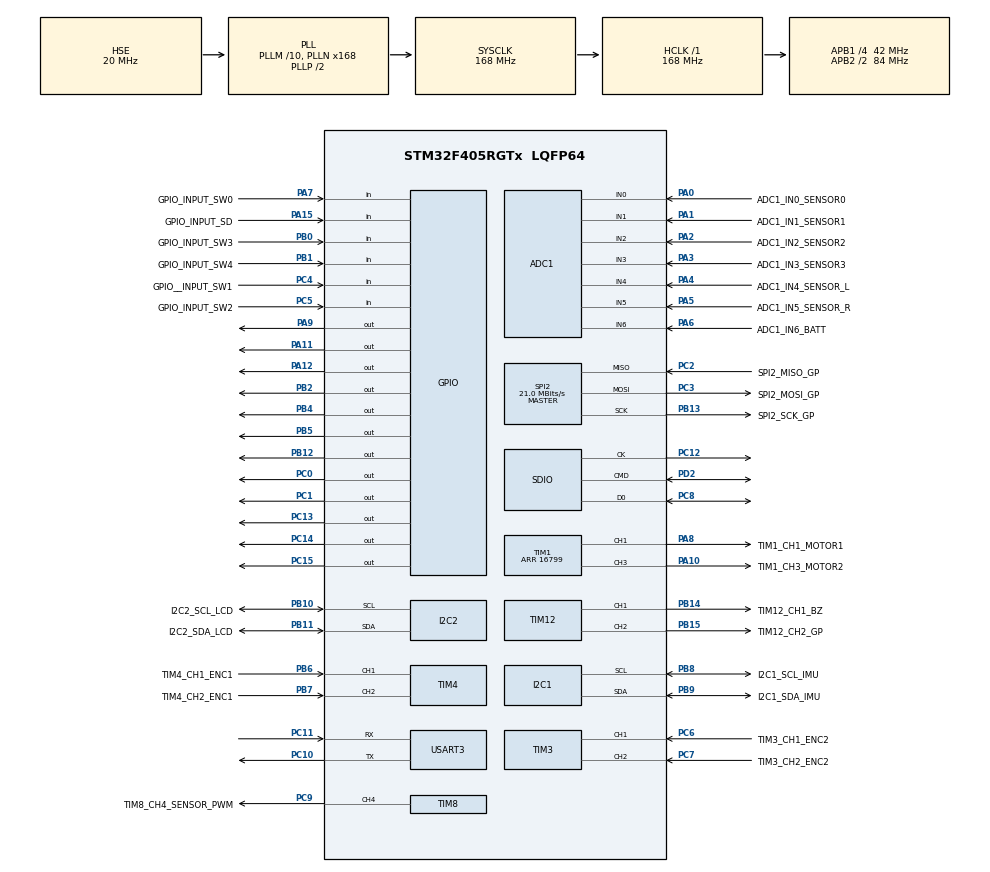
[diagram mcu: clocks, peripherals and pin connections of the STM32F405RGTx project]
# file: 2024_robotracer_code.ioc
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ADC1.Channel-0\#ChannelRegularConversion=ADC_CHANNEL_0
ADC1.NbrOfConversionFlag=1
ADC1.Rank-0\#ChannelRegularConversion=1
ADC1.SamplingTime-0\#ChannelRegularConversion=ADC_SAMPLETIME_3CYCLES
ADC1.master=1
FATFS.BSP.number=1
FATFS0.BSP.STBoard=false
FATFS0.BSP.api=Unknown
FATFS0.BSP.instance=PA15
FATFS0.BSP.ip=GPIO
FATFS0.BSP.mode=Input
FATFS0.BSP.name=Detect_SDIO
FATFS0.BSP.solution=PA15
Mcu.Family=STM32F4
Mcu.Name=STM32F405RGTx
Mcu.Package=LQFP64
NVIC.PriorityGroup=NVIC_PRIORITYGROUP_4
NVIC.TIM6_DAC_IRQn=true\:0\:0\:false\:false\:true\:true\:true\:true
NVIC.TIM7_IRQn=true\:0\:0\:false\:false\:true\:true\:true\:true
PA0-WKUP.GPIO_Label=ADC1_IN0_SENSOR0
PA0-WKUP.Signal=ADCx_IN0
PA1.GPIO_Label=ADC1_IN1_SENSOR1
PA1.Signal=ADCx_IN1
PA10.GPIO_Label=TIM1_CH3_MOTOR2
PA10.Signal=S_TIM1_CH3
PA11.Signal=GPIO_Output
PA12.Signal=GPIO_Output
PA13.Mode=Trace_Asynchronous_SW
PA13.Signal=SYS_JTMS-SWDIO
PA14.Mode=Trace_Asynchronous_SW
PA14.Signal=SYS_JTCK-SWCLK
PA15.GPIO_Label=GPIO_INPUT_SD
PA15.Signal=GPIO_Input
PA2.GPIO_Label=ADC1_IN2_SENSOR2
PA2.Signal=ADCx_IN2
PA3.GPIO_Label=ADC1_IN3_SENSOR3
PA3.Signal=ADCx_IN3
PA4.GPIO_Label=ADC1_IN4_SENSOR_L
PA4.Signal=ADCx_IN4
PA5.GPIO_Label=ADC1_IN5_SENSOR_R
PA5.Signal=ADCx_IN5
PA6.GPIO_Label=ADC1_IN6_BATT
PA6.Signal=ADCx_IN6
PA7.GPIO_Label=GPIO_INPUT_SW0
PA7.Signal=GPIO_Input
PA8.GPIO_Label=TIM1_CH1_MOTOR1
PA8.Signal=S_TIM1_CH1
PA9.GPIO_PuPd=GPIO_NOPULL
PA9.Signal=GPIO_Output
PB0.GPIO_Label=GPIO_INPUT_SW3
PB0.Signal=GPIO_Input
PB1.GPIO_Label=GPIO_INPUT_SW4
PB1.Signal=GPIO_Input
PB10.GPIO_Label=I2C2_SCL_LCD
PB10.Mode=I2C
PB10.Signal=I2C2_SCL
PB11.GPIO_Label=I2C2_SDA_LCD
PB11.Mode=I2C
PB11.Signal=I2C2_SDA
PB12.Signal=GPIO_Output
PB13.GPIO_Label=SPI2_SCK_GP
PB13.Mode=Full_Duplex_Master
PB13.Signal=SPI2_SCK
PB14.GPIO_Label=TIM12_CH1_BZ
PB14.Signal=S_TIM12_CH1
PB15.GPIO_Label=TIM12_CH2_GP
PB15.Signal=S_TIM12_CH2
PB2.Signal=GPIO_Output
PB3.Mode=Trace_Asynchronous_SW
PB3.Signal=SYS_JTDO-SWO
PB4.Signal=GPIO_Output
PB5.Signal=GPIO_Output
PB6.GPIO_Label=TIM4_CH1_ENC1
PB6.Signal=S_TIM4_CH1
PB7.GPIO_Label=TIM4_CH2_ENC1
PB7.Signal=S_TIM4_CH2
PB8.GPIO_Label=I2C1_SCL_IMU
PB8.Mode=I2C
PB8.Signal=I2C1_SCL
PB9.GPIO_Label=I2C1_SDA_IMU
PB9.Mode=I2C
PB9.Signal=I2C1_SDA
PC0.Signal=GPIO_Output
PC1.Signal=GPIO_Output
PC10.Mode=Asynchronous
PC10.Signal=USART3_TX
PC11.Mode=Asynchronous
PC11.Signal=USART3_RX
PC12.Mode=SD_1_bit
PC12.Signal=SDIO_CK
PC13-ANTI_TAMP.Signal=GPIO_Output
PC14-OSC32_IN.Signal=GPIO_Output
PC15-OSC32_OUT.Signal=GPIO_Output
PC2.GPIO_Label=SPI2_MISO_GP
PC2.Mode=Full_Duplex_Master
PC2.Signal=SPI2_MISO
PC3.GPIO_Label=SPI2_MOSI_GP
PC3.Mode=Full_Duplex_Master
PC3.Signal=SPI2_MOSI
PC4.GPIO_Label=GPIO__INPUT_SW1
PC4.Signal=GPIO_Input
PC5.GPIO_Label=GPIO_INPUT_SW2
PC5.Signal=GPIO_Input
PC6.GPIO_Label=TIM3_CH1_ENC2
PC6.Signal=S_TIM3_CH1
PC7.GPIO_Label=TIM3_CH2_ENC2
PC7.Signal=S_TIM3_CH2
PC8.Mode=SD_1_bit
PC8.Signal=SDIO_D0
PC9.GPIO_Label=TIM8_CH4_SENSOR_PWM
PC9.Signal=S_TIM8_CH4
PD2.Mode=SD_1_bit
PD2.Signal=SDIO_CMD
PH0-OSC_IN.Mode=HSE-External-Oscillator
PH0-OSC_IN.Signal=RCC_OSC_IN
PH1-OSC_OUT.Mode=HSE-External-Oscillator
PH1-OSC_OUT.Signal=RCC_OSC_OUT
ProjectManager.HeapSize=0x200
ProjectManager.StackSize=0x400
ProjectManager.TargetToolchain=STM32CubeIDE
RCC.48MHZClocksFreq_Value=48000000
RCC.AHBFreq_Value=168000000
RCC.APB1CLKDivider=RCC_HCLK_DIV4
RCC.APB1Freq_Value=42000000
RCC.APB1TimFreq_Value=84000000
RCC.APB2CLKDivider=RCC_HCLK_DIV2
RCC.APB2Freq_Value=84000000
RCC.APB2TimFreq_Value=168000000
RCC.CortexFreq_Value=168000000
RCC.HCLKFreq_Value=168000000
RCC.HSE_VALUE=20000000
RCC.HSI_VALUE=16000000
RCC.LSE_VALUE=32768
RCC.PLLM=10
RCC.PLLN=168
RCC.PLLQ=7
RCC.PLLSourceVirtual=RCC_PLLSOURCE_HSE
RCC.SYSCLKFreq_VALUE=168000000
RCC.SYSCLKSource=RCC_SYSCLKSOURCE_PLLCLK
RCC.VCOOutputFreq_Value=336000000
SH.ADCx_IN0.0=ADC1_IN0,IN0
SH.ADCx_IN1.0=ADC1_IN1,IN1
SH.ADCx_IN2.0=ADC1_IN2,IN2
SH.ADCx_IN3.0=ADC1_IN3,IN3
SH.ADCx_IN4.0=ADC1_IN4,IN4
SH.ADCx_IN5.0=ADC1_IN5,IN5
SH.ADCx_IN6.0=ADC1_IN6,IN6
SH.S_TIM12_CH1.0=TIM12_CH1,PWM Generation1 CH1
SH.S_TIM12_CH2.0=TIM12_CH2,PWM Generation2 CH2
SH.S_TIM1_CH1.0=TIM1_CH1,PWM Generation1 CH1
SH.S_TIM1_CH3.0=TIM1_CH3,PWM Generation3 CH3
SH.S_TIM3_CH1.0=TIM3_CH1,Encoder_Interface
SH.S_TIM3_CH2.0=TIM3_CH2,Encoder_Interface
SH.S_TIM4_CH1.0=TIM4_CH1,Encoder_Interface
SH.S_TIM4_CH2.0=TIM4_CH2,Encoder_Interface
SH.S_TIM8_CH4.0=TIM8_CH4,PWM Generation4 CH4
SPI2.BaudRatePrescaler=SPI_BAUDRATEPRESCALER_2
SPI2.CalculateBaudRate=21.0 MBits/s
SPI2.Direction=SPI_DIRECTION_2LINES
SPI2.Mode=SPI_MODE_MASTER
SPI2.VirtualType=VM_MASTER
TIM1.Channel-PWM\ Generation1\ CH1=TIM_CHANNEL_1
TIM1.Channel-PWM\ Generation3\ CH3=TIM_CHANNEL_3
TIM1.Period=16799
TIM12.Channel-PWM\ Generation1\ CH1=TIM_CHANNEL_1
TIM12.Channel-PWM\ Generation2\ CH2=TIM_CHANNEL_2
TIM6.Period=999
TIM6.Prescaler=83
TIM7.Period=99
TIM7.Prescaler=83
TIM8.Channel-PWM\ Generation4\ CH4=TIM_CHANNEL_4
USART3.VirtualMode=VM_ASYNC
VP_FATFS_VS_SDIO.Mode=SDIO
VP_TIM10_VS_ClockSourceINT.Mode=Enable_Timer
VP_TIM11_VS_ClockSourceINT.Mode=Enable_Timer
VP_TIM13_VS_ClockSourceINT.Mode=Enable_Timer
VP_TIM14_VS_ClockSourceINT.Mode=Enable_Timer
VP_TIM6_VS_ClockSourceINT.Mode=Enable_Timer
VP_TIM7_VS_ClockSourceINT.Mode=Enable_Timer
board=custom

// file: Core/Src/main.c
/* USER CODE BEGIN Header */
/**
  ******************************************************************************
  * @file           : main.c
  * @brief          : Main program body
  ******************************************************************************
  * @attention
  *
  * Copyright (c) 2024 STMicroelectronics.
  * All rights reserved.
  *
  * This software is licensed under terms that can be found in the LICENSE file
  * in the root directory of this software component.
  * If no LICENSE file comes with this software, it is provided AS-IS.
  *
  ******************************************************************************
  */
/* USER CODE END Header */
#include "main.h"
#include "fatfs.h"

ADC_HandleTypeDef hadc1;

I2C_HandleTypeDef hi2c1;
I2C_HandleTypeDef hi2c2;

SD_HandleTypeDef hsd;

SPI_HandleTypeDef hspi2;

TIM_HandleTypeDef htim1;
TIM_HandleTypeDef htim3;
TIM_HandleTypeDef htim4;
TIM_HandleTypeDef htim6;
TIM_HandleTypeDef htim7;
TIM_HandleTypeDef htim8;
TIM_HandleTypeDef htim10;
TIM_HandleTypeDef htim11;
TIM_HandleTypeDef htim12;
TIM_HandleTypeDef htim13;
TIM_HandleTypeDef htim14;

UART_HandleTypeDef huart3;

/* USER CODE BEGIN PV */
uint16_t tim6_cnt;
uint16_t tim7_cnt;

int16_t mon_i;

/* USER CODE END PV */

void SystemClock_Config(void);
static void MX_GPIO_Init(void);
static void MX_ADC1_Init(void);
static void MX_I2C1_Init(void);
static void MX_I2C2_Init(void);
static void MX_SDIO_SD_Init(void);
static void MX_TIM1_Init(void);
static void MX_TIM3_Init(void);
static void MX_TIM4_Init(void);
static void MX_TIM6_Init(void);
static void MX_TIM7_Init(void);
static void MX_TIM10_Init(void);
static void MX_TIM11_Init(void);
static void MX_TIM12_Init(void);
static void MX_TIM13_Init(void);
static void MX_TIM14_Init(void);
static void MX_SPI2_Init(void);
static void MX_USART3_UART_Init(void);
static void MX_TIM8_Init(void);

/* USER CODE BEGIN 0 */

void HAL_TIM_PeriodElapsedCallback(TIM_HandleTypeDef *htim)
{
	if(htim->Instance == TIM6){
       tim6_cnt++;
       if(tim6_cnt >= 10000) tim6_cnt = 0;
   }
   if(htim->Instance == TIM7){
	   tim7_cnt++;
	   if(tim7_cnt >= 10000) tim7_cnt = 0;
   }
}

/* USER CODE END 0 */

int main(void)
{

  /* MCU Configuration--------------------------------------------------------*/

  /* Reset of all peripherals, Initializes the Flash interface and the Systick. */
  HAL_Init();

  /* Configure the system clock */
  SystemClock_Config();

  /* Initialize all configured peripherals */
  MX_GPIO_Init();
  MX_ADC1_Init();
  MX_I2C1_Init();
  MX_I2C2_Init();
  MX_SDIO_SD_Init();
  MX_TIM1_Init();
  MX_TIM3_Init();
  MX_TIM4_Init();
  MX_TIM6_Init();
  MX_TIM7_Init();
  MX_FATFS_Init();
  MX_TIM10_Init();
  MX_TIM11_Init();
  MX_TIM12_Init();
  MX_TIM13_Init();
  MX_TIM14_Init();
  MX_SPI2_Init();
  MX_USART3_UART_Init();
  MX_TIM8_Init();
  /* USER CODE BEGIN 2 */
  HAL_TIM_Base_Start_IT(&htim6);
  HAL_TIM_Base_Start_IT(&htim7);
  HAL_TIM_PWM_Start(&htim1, TIM_CHANNEL_1);
  HAL_TIM_PWM_Start(&htim1, TIM_CHANNEL_3);
  //HAL_TIM_PWM_Start(&htim1, TIM_CHANNEL_2);
  /* USER CODE END 2 */

  /* Infinite loop */
  /* USER CODE BEGIN WHILE */
  while (1)
  {
	  //__HAL_TIM_SET_COMPARE(&htim1, TIM_CHANNEL_2, 0); //A
	  /*
	  HAL_GPIO_WritePin(GPIOA, GPIO_PIN_9, GPIO_PIN_RESET);
	  for(mon_i = 500; mon_i < 1000; mon_i++){
		  __HAL_TIM_SET_COMPARE(&htim1, TIM_CHANNEL_1, mon_i); //B
		  HAL_Delay(1);
	  }
	  */

	  HAL_GPIO_WritePin(GPIOA, GPIO_PIN_9, GPIO_PIN_SET);
	  HAL_GPIO_WritePin(GPIOA, GPIO_PIN_11, GPIO_PIN_SET);
	  for(mon_i = 4000; mon_i < 8000; mon_i++){
		  __HAL_TIM_SET_COMPARE(&htim1, TIM_CHANNEL_1, mon_i); //B
		  __HAL_TIM_SET_COMPARE(&htim1, TIM_CHANNEL_3, mon_i); //B
		  HAL_Delay(1);
	  }

	  //__HAL_TIM_SET_COMPARE(&htim1, TIM_CHANNEL_2, 3359); //A
	  /*
	  HAL_GPIO_WritePin(GPIOA, GPIO_PIN_9, GPIO_PIN_RESET);
	  __HAL_TIM_SET_COMPARE(&htim1, TIM_CHANNEL_1, 1000); //B
	  HAL_Delay(1000);
	  */
    /* USER CODE END WHILE */

  }
}

void SystemClock_Config(void)
{
  RCC_OscInitTypeDef RCC_OscInitStruct = {0};
  RCC_ClkInitTypeDef RCC_ClkInitStruct = {0};

  /** Configure the main internal regulator output voltage
  */
  __HAL_RCC_PWR_CLK_ENABLE();
  __HAL_PWR_VOLTAGESCALING_CONFIG(PWR_REGULATOR_VOLTAGE_SCALE1);

  /** Initializes the RCC Oscillators according to the specified parameters
  * in the RCC_OscInitTypeDef structure.
  */
  RCC_OscInitStruct.OscillatorType = RCC_OSCILLATORTYPE_HSE;
  RCC_OscInitStruct.HSEState = RCC_HSE_ON;
  RCC_OscInitStruct.PLL.PLLState = RCC_PLL_ON;
  RCC_OscInitStruct.PLL.PLLSource = RCC_PLLSOURCE_HSE;
  RCC_OscInitStruct.PLL.PLLM = 10;
  RCC_OscInitStruct.PLL.PLLN = 168;
  RCC_OscInitStruct.PLL.PLLP = RCC_PLLP_DIV2;
  RCC_OscInitStruct.PLL.PLLQ = 7;
  if (HAL_RCC_OscConfig(&RCC_OscInitStruct) != HAL_OK)
  {
    Error_Handler();
  }

  /** Initializes the CPU, AHB and APB buses clocks
  */
  RCC_ClkInitStruct.ClockType = RCC_CLOCKTYPE_HCLK|RCC_CLOCKTYPE_SYSCLK
                              |RCC_CLOCKTYPE_PCLK1|RCC_CLOCKTYPE_PCLK2;
  RCC_ClkInitStruct.SYSCLKSource = RCC_SYSCLKSOURCE_PLLCLK;
  RCC_ClkInitStruct.AHBCLKDivider = RCC_SYSCLK_DIV1;
  RCC_ClkInitStruct.APB1CLKDivider = RCC_HCLK_DIV4;
  RCC_ClkInitStruct.APB2CLKDivider = RCC_HCLK_DIV2;

  if (HAL_RCC_ClockConfig(&RCC_ClkInitStruct, FLASH_LATENCY_5) != HAL_OK)
  {
    Error_Handler();
  }
}

static void MX_ADC1_Init(void)
{

  ADC_ChannelConfTypeDef sConfig = {0};

  /** Configure the global features of the ADC (Clock, Resolution, Data Alignment and number of conversion)
  */
  hadc1.Instance = ADC1;
  hadc1.Init.ClockPrescaler = ADC_CLOCK_SYNC_PCLK_DIV4;
  hadc1.Init.Resolution = ADC_RESOLUTION_12B;
  hadc1.Init.ScanConvMode = DISABLE;
  hadc1.Init.ContinuousConvMode = DISABLE;
  hadc1.Init.DiscontinuousConvMode = DISABLE;
  hadc1.Init.ExternalTrigConvEdge = ADC_EXTERNALTRIGCONVEDGE_NONE;
  hadc1.Init.ExternalTrigConv = ADC_SOFTWARE_START;
  hadc1.Init.DataAlign = ADC_DATAALIGN_RIGHT;
  hadc1.Init.NbrOfConversion = 1;
  hadc1.Init.DMAContinuousRequests = DISABLE;
  hadc1.Init.EOCSelection = ADC_EOC_SINGLE_CONV;
  if (HAL_ADC_Init(&hadc1) != HAL_OK)
  {
    Error_Handler();
  }

  /** Configure for the selected ADC regular channel its corresponding rank in the sequencer and its sample time.
  */
  sConfig.Channel = ADC_CHANNEL_0;
  sConfig.Rank = 1;
  sConfig.SamplingTime = ADC_SAMPLETIME_3CYCLES;
  if (HAL_ADC_ConfigChannel(&hadc1, &sConfig) != HAL_OK)
  {
    Error_Handler();
  }

}

static void MX_I2C1_Init(void)
{

  hi2c1.Instance = I2C1;
  hi2c1.Init.ClockSpeed = 100000;
  hi2c1.Init.DutyCycle = I2C_DUTYCYCLE_2;
  hi2c1.Init.OwnAddress1 = 0;
  hi2c1.Init.AddressingMode = I2C_ADDRESSINGMODE_7BIT;
  hi2c1.Init.DualAddressMode = I2C_DUALADDRESS_DISABLE;
  hi2c1.Init.OwnAddress2 = 0;
  hi2c1.Init.GeneralCallMode = I2C_GENERALCALL_DISABLE;
  hi2c1.Init.NoStretchMode = I2C_NOSTRETCH_DISABLE;
  if (HAL_I2C_Init(&hi2c1) != HAL_OK)
  {
    Error_Handler();
  }

}

static void MX_I2C2_Init(void)
{

  hi2c2.Instance = I2C2;
  hi2c2.Init.ClockSpeed = 100000;
  hi2c2.Init.DutyCycle = I2C_DUTYCYCLE_2;
  hi2c2.Init.OwnAddress1 = 0;
  hi2c2.Init.AddressingMode = I2C_ADDRESSINGMODE_7BIT;
  hi2c2.Init.DualAddressMode = I2C_DUALADDRESS_DISABLE;
  hi2c2.Init.OwnAddress2 = 0;
  hi2c2.Init.GeneralCallMode = I2C_GENERALCALL_DISABLE;
  hi2c2.Init.NoStretchMode = I2C_NOSTRETCH_DISABLE;
  if (HAL_I2C_Init(&hi2c2) != HAL_OK)
  {
    Error_Handler();
  }

}

static void MX_SDIO_SD_Init(void)
{

  hsd.Instance = SDIO;
  hsd.Init.ClockEdge = SDIO_CLOCK_EDGE_RISING;
  hsd.Init.ClockBypass = SDIO_CLOCK_BYPASS_DISABLE;
  hsd.Init.ClockPowerSave = SDIO_CLOCK_POWER_SAVE_DISABLE;
  hsd.Init.BusWide = SDIO_BUS_WIDE_1B;
  hsd.Init.HardwareFlowControl = SDIO_HARDWARE_FLOW_CONTROL_DISABLE;
  hsd.Init.ClockDiv = 0;

}

static void MX_SPI2_Init(void)
{

  /* SPI2 parameter configuration*/
  hspi2.Instance = SPI2;
  hspi2.Init.Mode = SPI_MODE_MASTER;
  hspi2.Init.Direction = SPI_DIRECTION_2LINES;
  hspi2.Init.DataSize = SPI_DATASIZE_8BIT;
  hspi2.Init.CLKPolarity = SPI_POLARITY_LOW;
  hspi2.Init.CLKPhase = SPI_PHASE_1EDGE;
  hspi2.Init.NSS = SPI_NSS_SOFT;
  hspi2.Init.BaudRatePrescaler = SPI_BAUDRATEPRESCALER_2;
  hspi2.Init.FirstBit = SPI_FIRSTBIT_MSB;
  hspi2.Init.TIMode = SPI_TIMODE_DISABLE;
  hspi2.Init.CRCCalculation = SPI_CRCCALCULATION_DISABLE;
  hspi2.Init.CRCPolynomial = 10;
  if (HAL_SPI_Init(&hspi2) != HAL_OK)
  {
    Error_Handler();
  }

}

static void MX_TIM1_Init(void)
{

  TIM_MasterConfigTypeDef sMasterConfig = {0};
  TIM_OC_InitTypeDef sConfigOC = {0};
  TIM_BreakDeadTimeConfigTypeDef sBreakDeadTimeConfig = {0};

  htim1.Instance = TIM1;
  htim1.Init.Prescaler = 0;
  htim1.Init.CounterMode = TIM_COUNTERMODE_UP;
  htim1.Init.Period = 16799;
  htim1.Init.ClockDivision = TIM_CLOCKDIVISION_DIV1;
  htim1.Init.RepetitionCounter = 0;
  htim1.Init.AutoReloadPreload = TIM_AUTORELOAD_PRELOAD_DISABLE;
  if (HAL_TIM_PWM_Init(&htim1) != HAL_OK)
  {
    Error_Handler();
  }
  sMasterConfig.MasterOutputTrigger = TIM_TRGO_RESET;
  sMasterConfig.MasterSlaveMode = TIM_MASTERSLAVEMODE_DISABLE;
  if (HAL_TIMEx_MasterConfigSynchronization(&htim1, &sMasterConfig) != HAL_OK)
  {
    Error_Handler();
  }
  sConfigOC.OCMode = TIM_OCMODE_PWM1;
  sConfigOC.Pulse = 0;
  sConfigOC.OCPolarity = TIM_OCPOLARITY_HIGH;
  sConfigOC.OCNPolarity = TIM_OCNPOLARITY_HIGH;
  sConfigOC.OCFastMode = TIM_OCFAST_DISABLE;
  sConfigOC.OCIdleState = TIM_OCIDLESTATE_RESET;
  sConfigOC.OCNIdleState = TIM_OCNIDLESTATE_RESET;
  if (HAL_TIM_PWM_ConfigChannel(&htim1, &sConfigOC, TIM_CHANNEL_1) != HAL_OK)
  {
    Error_Handler();
  }
  if (HAL_TIM_PWM_ConfigChannel(&htim1, &sConfigOC, TIM_CHANNEL_3) != HAL_OK)
  {
    Error_Handler();
  }
  sBreakDeadTimeConfig.OffStateRunMode = TIM_OSSR_DISABLE;
  sBreakDeadTimeConfig.OffStateIDLEMode = TIM_OSSI_DISABLE;
  sBreakDeadTimeConfig.LockLevel = TIM_LOCKLEVEL_OFF;
  sBreakDeadTimeConfig.DeadTime = 0;
  sBreakDeadTimeConfig.BreakState = TIM_BREAK_DISABLE;
  sBreakDeadTimeConfig.BreakPolarity = TIM_BREAKPOLARITY_HIGH;
  sBreakDeadTimeConfig.AutomaticOutput = TIM_AUTOMATICOUTPUT_DISABLE;
  if (HAL_TIMEx_ConfigBreakDeadTime(&htim1, &sBreakDeadTimeConfig) != HAL_OK)
  {
    Error_Handler();
  }
  HAL_TIM_MspPostInit(&htim1);

}

static void MX_TIM3_Init(void)
{

  TIM_Encoder_InitTypeDef sConfig = {0};
  TIM_MasterConfigTypeDef sMasterConfig = {0};

  htim3.Instance = TIM3;
  htim3.Init.Prescaler = 0;
  htim3.Init.CounterMode = TIM_COUNTERMODE_UP;
  htim3.Init.Period = 65535;
  htim3.Init.ClockDivision = TIM_CLOCKDIVISION_DIV1;
  htim3.Init.AutoReloadPreload = TIM_AUTORELOAD_PRELOAD_DISABLE;
  sConfig.EncoderMode = TIM_ENCODERMODE_TI1;
  sConfig.IC1Polarity = TIM_ICPOLARITY_RISING;
  sConfig.IC1Selection = TIM_ICSELECTION_DIRECTTI;
  sConfig.IC1Prescaler = TIM_ICPSC_DIV1;
  sConfig.IC1Filter = 0;
  sConfig.IC2Polarity = TIM_ICPOLARITY_RISING;
  sConfig.IC2Selection = TIM_ICSELECTION_DIRECTTI;
  sConfig.IC2Prescaler = TIM_ICPSC_DIV1;
  sConfig.IC2Filter = 0;
  if (HAL_TIM_Encoder_Init(&htim3, &sConfig) != HAL_OK)
  {
    Error_Handler();
  }
  sMasterConfig.MasterOutputTrigger = TIM_TRGO_RESET;
  sMasterConfig.MasterSlaveMode = TIM_MASTERSLAVEMODE_DISABLE;
  if (HAL_TIMEx_MasterConfigSynchronization(&htim3, &sMasterConfig) != HAL_OK)
  {
    Error_Handler();
  }

}

static void MX_TIM4_Init(void)
{

  TIM_Encoder_InitTypeDef sConfig = {0};
  TIM_MasterConfigTypeDef sMasterConfig = {0};

  htim4.Instance = TIM4;
  htim4.Init.Prescaler = 0;
  htim4.Init.CounterMode = TIM_COUNTERMODE_UP;
  htim4.Init.Period = 65535;
  htim4.Init.ClockDivision = TIM_CLOCKDIVISION_DIV1;
  htim4.Init.AutoReloadPreload = TIM_AUTORELOAD_PRELOAD_DISABLE;
  sConfig.EncoderMode = TIM_ENCODERMODE_TI1;
  sConfig.IC1Polarity = TIM_ICPOLARITY_RISING;
  sConfig.IC1Selection = TIM_ICSELECTION_DIRECTTI;
  sConfig.IC1Prescaler = TIM_ICPSC_DIV1;
  sConfig.IC1Filter = 0;
  sConfig.IC2Polarity = TIM_ICPOLARITY_RISING;
  sConfig.IC2Selection = TIM_ICSELECTION_DIRECTTI;
  sConfig.IC2Prescaler = TIM_ICPSC_DIV1;
  sConfig.IC2Filter = 0;
  if (HAL_TIM_Encoder_Init(&htim4, &sConfig) != HAL_OK)
  {
    Error_Handler();
  }
  sMasterConfig.MasterOutputTrigger = TIM_TRGO_RESET;
  sMasterConfig.MasterSlaveMode = TIM_MASTERSLAVEMODE_DISABLE;
  if (HAL_TIMEx_MasterConfigSynchronization(&htim4, &sMasterConfig) != HAL_OK)
  {
    Error_Handler();
  }

}

static void MX_TIM6_Init(void)
{

  TIM_MasterConfigTypeDef sMasterConfig = {0};

  htim6.Instance = TIM6;
  htim6.Init.Prescaler = 83;
  htim6.Init.CounterMode = TIM_COUNTERMODE_UP;
  htim6.Init.Period = 999;
  htim6.Init.AutoReloadPreload = TIM_AUTORELOAD_PRELOAD_DISABLE;
  if (HAL_TIM_Base_Init(&htim6) != HAL_OK)
  {
    Error_Handler();
  }
  sMasterConfig.MasterOutputTrigger = TIM_TRGO_RESET;
  sMasterConfig.MasterSlaveMode = TIM_MASTERSLAVEMODE_DISABLE;
  if (HAL_TIMEx_MasterConfigSynchronization(&htim6, &sMasterConfig) != HAL_OK)
  {
    Error_Handler();
  }

}

static void MX_TIM7_Init(void)
{

  TIM_MasterConfigTypeDef sMasterConfig = {0};

  htim7.Instance = TIM7;
  htim7.Init.Prescaler = 83;
  htim7.Init.CounterMode = TIM_COUNTERMODE_UP;
  htim7.Init.Period = 99;
  htim7.Init.AutoReloadPreload = TIM_AUTORELOAD_PRELOAD_DISABLE;
  if (HAL_TIM_Base_Init(&htim7) != HAL_OK)
  {
    Error_Handler();
  }
  sMasterConfig.MasterOutputTrigger = TIM_TRGO_RESET;
  sMasterConfig.MasterSlaveMode = TIM_MASTERSLAVEMODE_DISABLE;
  if (HAL_TIMEx_MasterConfigSynchronization(&htim7, &sMasterConfig) != HAL_OK)
  {
    Error_Handler();
  }

}

static void MX_TIM8_Init(void)
{

  TIM_MasterConfigTypeDef sMasterConfig = {0};
  TIM_OC_InitTypeDef sConfigOC = {0};
  TIM_BreakDeadTimeConfigTypeDef sBreakDeadTimeConfig = {0};

  htim8.Instance = TIM8;
  htim8.Init.Prescaler = 0;
  htim8.Init.CounterMode = TIM_COUNTERMODE_UP;
  htim8.Init.Period = 65535;
  htim8.Init.ClockDivision = TIM_CLOCKDIVISION_DIV1;
  htim8.Init.RepetitionCounter = 0;
  htim8.Init.AutoReloadPreload = TIM_AUTORELOAD_PRELOAD_DISABLE;
  if (HAL_TIM_PWM_Init(&htim8) != HAL_OK)
  {
    Error_Handler();
  }
  sMasterConfig.MasterOutputTrigger = TIM_TRGO_RESET;
  sMasterConfig.MasterSlaveMode = TIM_MASTERSLAVEMODE_DISABLE;
  if (HAL_TIMEx_MasterConfigSynchronization(&htim8, &sMasterConfig) != HAL_OK)
  {
    Error_Handler();
  }
  sConfigOC.OCMode = TIM_OCMODE_PWM1;
  sConfigOC.Pulse = 0;
  sConfigOC.OCPolarity = TIM_OCPOLARITY_HIGH;
  sConfigOC.OCFastMode = TIM_OCFAST_DISABLE;
  sConfigOC.OCIdleState = TIM_OCIDLESTATE_RESET;
  sConfigOC.OCNIdleState = TIM_OCNIDLESTATE_RESET;
  if (HAL_TIM_PWM_ConfigChannel(&htim8, &sConfigOC, TIM_CHANNEL_4) != HAL_OK)
  {
    Error_Handler();
  }
  sBreakDeadTimeConfig.OffStateRunMode = TIM_OSSR_DISABLE;
  sBreakDeadTimeConfig.OffStateIDLEMode = TIM_OSSI_DISABLE;
  sBreakDeadTimeConfig.LockLevel = TIM_LOCKLEVEL_OFF;
  sBreakDeadTimeConfig.DeadTime = 0;
  sBreakDeadTimeConfig.BreakState = TIM_BREAK_DISABLE;
  sBreakDeadTimeConfig.BreakPolarity = TIM_BREAKPOLARITY_HIGH;
  sBreakDeadTimeConfig.AutomaticOutput = TIM_AUTOMATICOUTPUT_DISABLE;
  if (HAL_TIMEx_ConfigBreakDeadTime(&htim8, &sBreakDeadTimeConfig) != HAL_OK)
  {
    Error_Handler();
  }
  HAL_TIM_MspPostInit(&htim8);

}

static void MX_TIM10_Init(void)
{

  htim10.Instance = TIM10;
  htim10.Init.Prescaler = 0;
  htim10.Init.CounterMode = TIM_COUNTERMODE_UP;
  htim10.Init.Period = 65535;
  htim10.Init.ClockDivision = TIM_CLOCKDIVISION_DIV1;
  htim10.Init.AutoReloadPreload = TIM_AUTORELOAD_PRELOAD_DISABLE;
  if (HAL_TIM_Base_Init(&htim10) != HAL_OK)
  {
    Error_Handler();
  }

}

static void MX_TIM11_Init(void)
{

  htim11.Instance = TIM11;
  htim11.Init.Prescaler = 0;
  htim11.Init.CounterMode = TIM_COUNTERMODE_UP;
  htim11.Init.Period = 65535;
  htim11.Init.ClockDivision = TIM_CLOCKDIVISION_DIV1;
  htim11.Init.AutoReloadPreload = TIM_AUTORELOAD_PRELOAD_DISABLE;
  if (HAL_TIM_Base_Init(&htim11) != HAL_OK)
  {
    Error_Handler();
  }

}

static void MX_TIM12_Init(void)
{

  TIM_OC_InitTypeDef sConfigOC = {0};

  htim12.Instance = TIM12;
  htim12.Init.Prescaler = 0;
  htim12.Init.CounterMode = TIM_COUNTERMODE_UP;
  htim12.Init.Period = 65535;
  htim12.Init.ClockDivision = TIM_CLOCKDIVISION_DIV1;
  htim12.Init.AutoReloadPreload = TIM_AUTORELOAD_PRELOAD_DISABLE;
  if (HAL_TIM_PWM_Init(&htim12) != HAL_OK)
  {
    Error_Handler();
  }
  sConfigOC.OCMode = TIM_OCMODE_PWM1;
  sConfigOC.Pulse = 0;
  sConfigOC.OCPolarity = TIM_OCPOLARITY_HIGH;
  sConfigOC.OCFastMode = TIM_OCFAST_DISABLE;
  if (HAL_TIM_PWM_ConfigChannel(&htim12, &sConfigOC, TIM_CHANNEL_1) != HAL_OK)
  {
    Error_Handler();
  }
  if (HAL_TIM_PWM_ConfigChannel(&htim12, &sConfigOC, TIM_CHANNEL_2) != HAL_OK)
  {
    Error_Handler();
  }
  HAL_TIM_MspPostInit(&htim12);

}

static void MX_TIM13_Init(void)
{

  htim13.Instance = TIM13;
  htim13.Init.Prescaler = 0;
  htim13.Init.CounterMode = TIM_COUNTERMODE_UP;
  htim13.Init.Period = 65535;
  htim13.Init.ClockDivision = TIM_CLOCKDIVISION_DIV1;
  htim13.Init.AutoReloadPreload = TIM_AUTORELOAD_PRELOAD_DISABLE;
  if (HAL_TIM_Base_Init(&htim13) != HAL_OK)
  {
    Error_Handler();
  }

}

static void MX_TIM14_Init(void)
{

  htim14.Instance = TIM14;
  htim14.Init.Prescaler = 0;
  htim14.Init.CounterMode = TIM_COUNTERMODE_UP;
  htim14.Init.Period = 65535;
  htim14.Init.ClockDivision = TIM_CLOCKDIVISION_DIV1;
  htim14.Init.AutoReloadPreload = TIM_AUTORELOAD_PRELOAD_DISABLE;
  if (HAL_TIM_Base_Init(&htim14) != HAL_OK)
  {
    Error_Handler();
  }

}

static void MX_USART3_UART_Init(void)
{

  huart3.Instance = USART3;
  huart3.Init.BaudRate = 115200;
  huart3.Init.WordLength = UART_WORDLENGTH_8B;
  huart3.Init.StopBits = UART_STOPBITS_1;
  huart3.Init.Parity = UART_PARITY_NONE;
  huart3.Init.Mode = UART_MODE_TX_RX;
  huart3.Init.HwFlowCtl = UART_HWCONTROL_NONE;
  huart3.Init.OverSampling = UART_OVERSAMPLING_16;
  if (HAL_UART_Init(&huart3) != HAL_OK)
  {
    Error_Handler();
  }

}

static void MX_GPIO_Init(void)
{
  GPIO_InitTypeDef GPIO_InitStruct = {0};

  /* GPIO Ports Clock Enable */
  __HAL_RCC_GPIOC_CLK_ENABLE();
  __HAL_RCC_GPIOH_CLK_ENABLE();
  __HAL_RCC_GPIOA_CLK_ENABLE();
  __HAL_RCC_GPIOB_CLK_ENABLE();
  __HAL_RCC_GPIOD_CLK_ENABLE();

  /*Configure GPIO pin Output Level */
  HAL_GPIO_WritePin(GPIOC, GPIO_PIN_13|GPIO_PIN_14|GPIO_PIN_15|GPIO_PIN_0
                          |GPIO_PIN_1, GPIO_PIN_RESET);

  /*Configure GPIO pin Output Level */
  HAL_GPIO_WritePin(GPIOB, GPIO_PIN_2|GPIO_PIN_12|GPIO_PIN_4|GPIO_PIN_5, GPIO_PIN_RESET);

  /*Configure GPIO pin Output Level */
  HAL_GPIO_WritePin(GPIOA, GPIO_PIN_9|GPIO_PIN_11|GPIO_PIN_12, GPIO_PIN_RESET);

  /*Configure GPIO pins : PC13 PC14 PC15 PC0
                           PC1 */
  GPIO_InitStruct.Pin = GPIO_PIN_13|GPIO_PIN_14|GPIO_PIN_15|GPIO_PIN_0
                          |GPIO_PIN_1;
  GPIO_InitStruct.Mode = GPIO_MODE_OUTPUT_PP;
  GPIO_InitStruct.Pull = GPIO_NOPULL;
  GPIO_InitStruct.Speed = GPIO_SPEED_FREQ_LOW;
  HAL_GPIO_Init(GPIOC, &GPIO_InitStruct);

  /*Configure GPIO pins : GPIO_INPUT_SW0_Pin GPIO_INPUT_SD_Pin */
  GPIO_InitStruct.Pin = GPIO_INPUT_SW0_Pin|GPIO_INPUT_SD_Pin;
  GPIO_InitStruct.Mode = GPIO_MODE_INPUT;
  GPIO_InitStruct.Pull = GPIO_NOPULL;
  HAL_GPIO_Init(GPIOA, &GPIO_InitStruct);

  /*Configure GPIO pins : GPIO__INPUT_SW1_Pin GPIO_INPUT_SW2_Pin */
  GPIO_InitStruct.Pin = GPIO__INPUT_SW1_Pin|GPIO_INPUT_SW2_Pin;
  GPIO_InitStruct.Mode = GPIO_MODE_INPUT;
  GPIO_InitStruct.Pull = GPIO_NOPULL;
  HAL_GPIO_Init(GPIOC, &GPIO_InitStruct);

  /*Configure GPIO pins : GPIO_INPUT_SW3_Pin GPIO_INPUT_SW4_Pin */
  GPIO_InitStruct.Pin = GPIO_INPUT_SW3_Pin|GPIO_INPUT_SW4_Pin;
  GPIO_InitStruct.Mode = GPIO_MODE_INPUT;
  GPIO_InitStruct.Pull = GPIO_NOPULL;
  HAL_GPIO_Init(GPIOB, &GPIO_InitStruct);

  /*Configure GPIO pins : PB2 PB12 PB4 PB5 */
  GPIO_InitStruct.Pin = GPIO_PIN_2|GPIO_PIN_12|GPIO_PIN_4|GPIO_PIN_5;
  GPIO_InitStruct.Mode = GPIO_MODE_OUTPUT_PP;
  GPIO_InitStruct.Pull = GPIO_NOPULL;
  GPIO_InitStruct.Speed = GPIO_SPEED_FREQ_LOW;
  HAL_GPIO_Init(GPIOB, &GPIO_InitStruct);

  /*Configure GPIO pins : PA9 PA11 PA12 */
  GPIO_InitStruct.Pin = GPIO_PIN_9|GPIO_PIN_11|GPIO_PIN_12;
  GPIO_InitStruct.Mode = GPIO_MODE_OUTPUT_PP;
  GPIO_InitStruct.Pull = GPIO_NOPULL;
  GPIO_InitStruct.Speed = GPIO_SPEED_FREQ_LOW;
  HAL_GPIO_Init(GPIOA, &GPIO_InitStruct);

}

void Error_Handler(void)
{
  __disable_irq();
  while (1)
  {
  }
}
